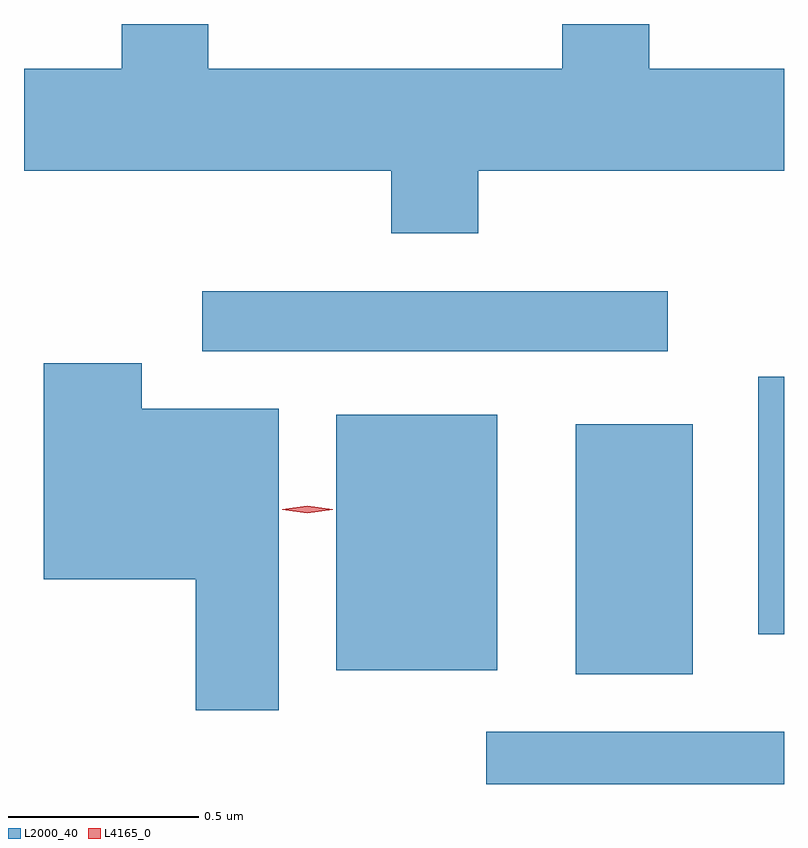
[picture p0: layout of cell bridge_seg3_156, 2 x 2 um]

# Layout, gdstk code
import gdstk
lib = gdstk.Library(unit=1e-6, precision=1e-09)
def R(c, l, rs):  # rectangles x0, y0, x1, y1
    for r in rs: c.add(gdstk.rectangle(r[:2], r[2:], *l))
def P(c, l, *ps):  # polygons
    for p in ps: c.add(gdstk.Polygon(p, *l))
L2000_40 = (2000, 40)
L4165_0 = (4165, 0)

bridge_seg3_156 = lib.new_cell('bridge_seg3_156')
R(bridge_seg3_156, L2000_40, [(853.201,1191.002,853.984,1191.139), (853.436,1191.291,853.744,1191.949), (852.806,1191.301,853.229,1191.974), (853.916,1191.396,853.984,1192.074), (852.453,1192.141,853.678,1192.299)])
P(bridge_seg3_156, L2000_40, [(853.179,1192.616),(853.984,1192.616),(853.984,1192.884),(853.629,1192.884),(853.629,1193.002),(853.401,1193.002),(853.401,1192.884),(852.469,1192.884),(852.469,1193.002),(852.241,1193.002),(852.241,1192.884),(851.984,1192.884),(851.984,1192.616),(852.951,1192.616),(852.951,1192.451),(853.179,1192.451)],
  [(852.654,1191.989),(852.294,1191.989),(852.294,1192.109),(852.036,1192.109),(852.036,1191.541),(852.436,1191.541),(852.436,1191.196),(852.654,1191.196)])
P(bridge_seg3_156, L4165_0, [(852.73,1191.714),(852.664,1191.724),(852.663,1191.724),(852.664,1191.725),(852.73,1191.734),(852.796,1191.725),(852.796,1191.724),(852.796,1191.724)])

lib.write_gds('bridge_seg3_156.gds')
